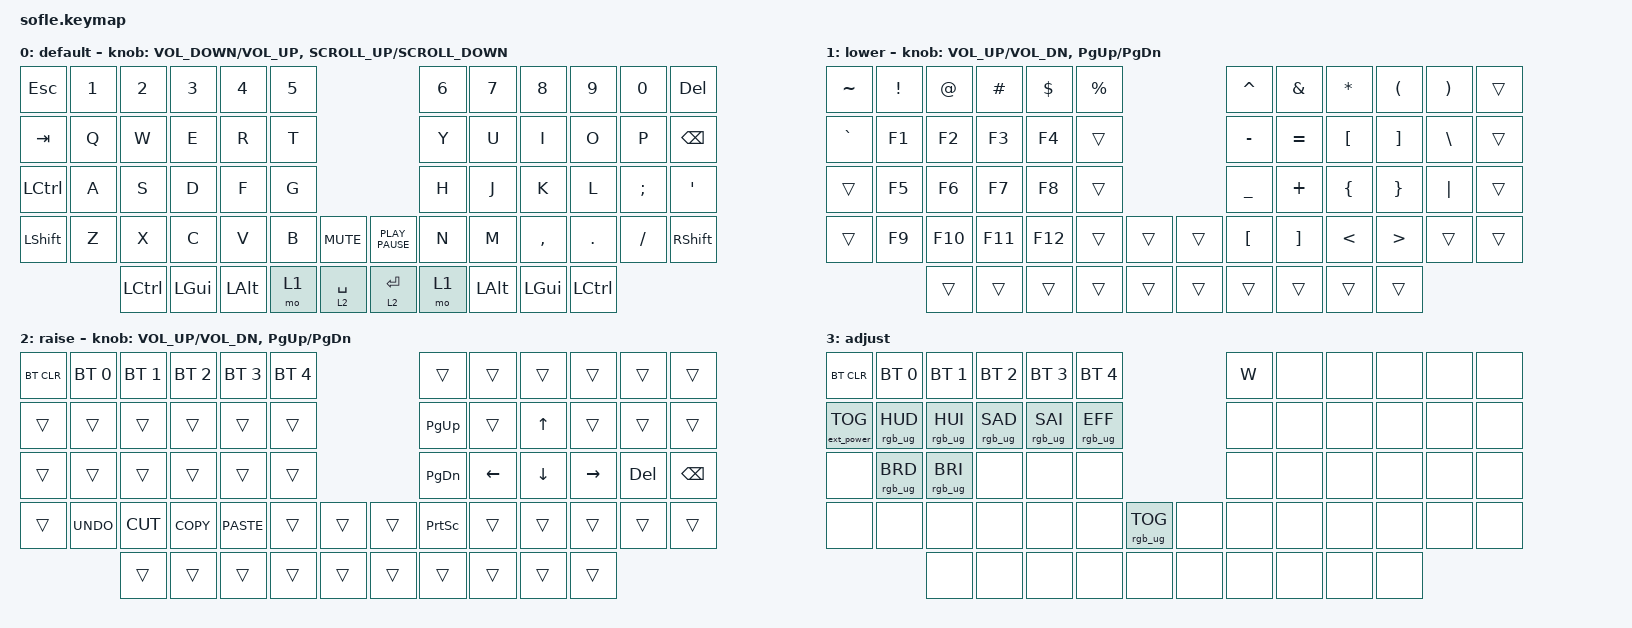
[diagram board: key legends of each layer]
/*
 * Copyright (c) 2020 The ZMK Contributors
 *
 * SPDX-License-Identifier: MIT
 */

#include <behaviors.dtsi>
#include <dt-bindings/zmk/bt.h>
#include <dt-bindings/zmk/ext_power.h>
#include <dt-bindings/zmk/keys.h>
#include <dt-bindings/zmk/rgb.h>

#define BASE 0
#define LOWER 1
#define RAISE 2
#define ADJUST 3

/ {
    // Activate ADJUST layer by pressing raise and lower

    conditional_layers {
        compatible = "zmk,conditional-layers";

        adjust_layer {
            if-layers = <LOWER RAISE>;
            then-layer = <ADJUST>;
        };
    };

    keymap {
        compatible = "zmk,keymap";

        default_layer {
            label = "default";

            // ------------------------------------------------------------------------------------------------------------
            // |   `   |  1  |  2  |  3   |  4   |  5   |                   |  6   |  7    |  8    |  9   |   0   |       |
            // |  ESC  |  Q  |  W  |  E   |  R   |  T   |                   |  Y   |  U    |  I    |  O   |   P   | BKSPC |
            // |  TAB  |  A  |  S  |  D   |  F   |  G   |                   |  H   |  J    |  K    |  L   |   ;   |   '   |
            // | SHIFT |  Z  |  X  |  C   |  V   |  B   |  MUTE  |  |       |  N   |  M    |  ,    |  .   |   /   | SHIFT |
            //               | GUI | ALT  | CTRL | LOWER|  ENTER |  | SPACE | RAISE| CTRL  | ALT   | GUI  |

            bindings = <
&kp ESC    &kp N1  &kp N2     &kp N3        &kp N4        &kp N5                                   &kp N6  &kp N7        &kp N8        &kp N9     &kp N0    &kp DELETE
&kp TAB    &kp Q   &kp W      &kp E         &kp R         &kp T                                    &kp Y   &kp U         &kp I         &kp O      &kp P     &kp BSPC
&kp LCTRL  &kp A   &kp S      &kp D         &kp F         &kp G                                    &kp H   &kp J         &kp K         &kp L      &kp SEMI  &kp SQT
&kp LSHFT  &kp Z   &kp X      &kp C         &kp V         &kp B   &kp C_MUTE     &kp K_PLAY_PAUSE  &kp N   &kp M         &kp COMMA     &kp DOT    &kp FSLH  &kp RSHFT
                   &kp LCTRL  &kp LEFT_GUI  &kp LEFT_ALT  &mo 1   &lt 2 SPACE    &lt 2 ENTER       &mo 1   &kp LEFT_ALT  &kp LEFT_GUI  &kp LCTRL
            >;

            sensor-bindings =
                <&inc_dec_kp C_VOLUME_DOWN C_VOL_UP>,
                <&inc_dec_kp K_SCROLL_UP K_SCROLL_DOWN>;
        };

        lower_layer {
            label = "lower";

            // TODO: Some binds are waiting for shifted keycode support.
            // ------------------------------------------------------------------------------------------------------------
            // |       |  F1 |  F2 |  F3  |  F4  |  F5  |                   |  F6  |  F7   |  F8   |  F9  |  F10  |  F11  |
            // |   `   |  1  |  2  |  3   |  4   |  5   |                   |  6   |  7    |  8    |  9   |   0   |  F12  |
            // |       |  !  |  @  |  #   |  $   |  %   |                   |  ^   |  &    |  *    |  (   |   )   |   |   |
            // |       |  =  |  -  |  +   |  {   |  }   |        |  |       |  [   |  ]    |  ;    |  :   |   \   |       |
            //               |     |      |      |      |        |  |       |      |       |       |      |

            bindings = <
&kp TILDE  &kp EXCLAMATION  &kp AT_SIGN  &kp HASH  &kp DOLLAR  &kp PERCENT                    &kp CARET       &kp AMPERSAND  &kp ASTERISK      &kp LEFT_PARENTHESIS  &kp RIGHT_PARENTHESIS  &trans
&kp GRAVE  &kp F1           &kp F2       &kp F3    &kp F4      &trans                         &kp MINUS       &kp EQUAL      &kp LEFT_BRACKET  &kp RIGHT_BRACKET     &kp BACKSLASH          &trans
&trans     &kp F5           &kp F6       &kp F7    &kp F8      &trans                         &kp UNDERSCORE  &kp PLUS       &kp LEFT_BRACE    &kp RIGHT_BRACE       &kp PIPE               &trans
&trans     &kp F9           &kp F10      &kp F11   &kp F12     &trans       &trans    &trans  &kp LBKT        &kp RBKT       &kp LESS_THAN     &kp GREATER_THAN      &trans                 &trans
                            &trans       &trans    &trans      &trans       &trans    &trans  &trans          &trans         &trans            &trans
            >;

            sensor-bindings = <&inc_dec_kp C_VOL_UP C_VOL_DN &inc_dec_kp PG_UP PG_DN>;
        };

        raise_layer {
            label = "raise";

            // ------------------------------------------------------------------------------------------------------------
            // | BTCLR | BT1  | BT2  |  BT3  |  BT4  |  BT5 |                |      |      |       |      |       |       |
            // |       | INS  | PSCR | GUI   |       |      |                | PGUP |      |   ^   |      |       |       |
            // |       | ALT  | CTRL | SHIFT |       | CAPS |                | PGDN |   <- |   v   |  ->  |  DEL  | BKSPC |
            // |       | UNDO | CUT  | COPY  | PASTE |      |      |  |      |      |      |       |      |       |       |
            //                |      |       |       |      |      |  |      |      |      |       |      |

            bindings = <
&bt BT_CLR  &bt BT_SEL 0  &bt BT_SEL 1  &bt BT_SEL 2  &bt BT_SEL 3  &bt BT_SEL 4                    &trans           &trans    &trans    &trans     &trans   &trans
&trans      &trans        &trans        &trans        &trans        &trans                          &kp PG_UP        &trans    &kp UP    &trans     &trans   &trans
&trans      &trans        &trans        &trans        &trans        &trans                          &kp PG_DN        &kp LEFT  &kp DOWN  &kp RIGHT  &kp DEL  &kp BSPC
&trans      &kp K_UNDO    &kp K_CUT     &kp K_COPY    &kp K_PASTE   &trans        &trans    &trans  &kp PRINTSCREEN  &trans    &trans    &trans     &trans   &trans
                          &trans        &trans        &trans        &trans        &trans    &trans  &trans           &trans    &trans    &trans
            >;

            sensor-bindings = <&inc_dec_kp C_VOL_UP C_VOL_DN &inc_dec_kp PG_UP PG_DN>;
        };

        adjust_layer {
            // ----------------------------------------------------------------------------------------------------------------------------
            // | BTCLR  |  BT1    |  BT2    |   BT3   |   BT4   |   BT5   |                  |      |      |       |      |       |       |
            // | EXTPWR | RGB_HUD | RGB_HUI | RGB_SAD | RGB_SAI | RGB_EFF |                  |      |      |       |      |       |       |
            // |        | RGB_BRD | RGB_BRI |         |         |         |                  |      |      |       |      |       |       |
            // |        |         |         |         |         |         | RGB_TOG | |      |      |      |       |      |       |       |
            //                    |         |         |         |         |         | |      |      |      |       |      |

            label = "adjust";
            bindings = <
&bt BT_CLR         &bt BT_SEL 0     &bt BT_SEL 1     &bt BT_SEL 2     &bt BT_SEL 3     &bt BT_SEL 4                               &kp W  &none  &none  &none  &none  &none
&ext_power EP_TOG  &rgb_ug RGB_HUD  &rgb_ug RGB_HUI  &rgb_ug RGB_SAD  &rgb_ug RGB_SAI  &rgb_ug RGB_EFF                            &none  &none  &none  &none  &none  &none
&none              &rgb_ug RGB_BRD  &rgb_ug RGB_BRI  &none            &none            &none                                      &none  &none  &none  &none  &none  &none
&none              &none            &none            &none            &none            &none            &rgb_ug RGB_TOG    &none  &none  &none  &none  &none  &none  &none
                                    &none            &none            &none            &none            &none              &none  &none  &none  &none  &none
            >;
        };
    };
};
